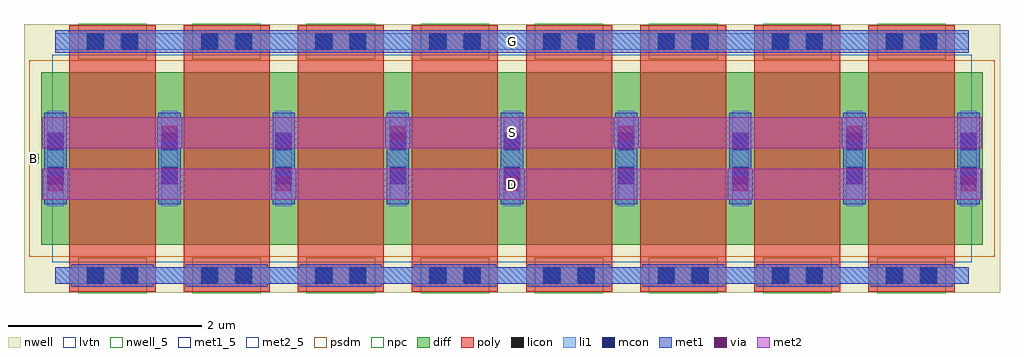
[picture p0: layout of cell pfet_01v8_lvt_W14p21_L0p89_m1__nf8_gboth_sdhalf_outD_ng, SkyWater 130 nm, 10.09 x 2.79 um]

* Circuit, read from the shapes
.subckt pfet_01v8_lvt_W14p21_L0p89_m1__nf8_gboth_sdhalf_outD_ng B D G S
XM1 S G D B sky130_fd_pr__pfet_01v8_lvt w=1.78 l=0.89 m=8
.ends

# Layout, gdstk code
import gdstk
lib = gdstk.Library(unit=1e-6, precision=1e-09)
def R(c, l, rs):  # rectangles x0, y0, x1, y1
    for r in rs: c.add(gdstk.rectangle(r[:2], r[2:], *l))
def A(c, l, x, y, w, h, nx, ny, dx, dy):  # array of equal rectangles
    R(c, l, [(x+i*dx, y+j*dy, x+i*dx+w, y+j*dy+h) for i in range(nx) for j in range(ny)])
nwell_5 = (64, 5)
nwell = (64, 20)
diff = (65, 20)
poly = (66, 20)
licon = (66, 44)
li1 = (67, 20)
mcon = (67, 44)
met1_5 = (68, 5)
met1 = (68, 20)
via = (68, 44)
met2_5 = (69, 5)
met2 = (69, 20)
psdm = (94, 20)
npc = (95, 20)
lvtn = (125, 44)

sky130_fd_pr__pfet_01v8_ = lib.new_cell('sky130_fd_pr__pfet_01v8_lvt_MYBT77')
R(sky130_fd_pr__pfet_01v8_, nwell, [(-5.045,-1.39,5.045,1.39)])
R(sky130_fd_pr__pfet_01v8_, diff, [(-4.865,-0.89,4.865,0.89)])
A(sky130_fd_pr__pfet_01v8_, poly, -4.575, -1.375, 0.89, 2.75, 8, 1, 1.18, 0)
A(sky130_fd_pr__pfet_01v8_, licon, -4.805, -0.255, 0.17, 0.17, 9, 2, 1.18, 0.34)
R(sky130_fd_pr__pfet_01v8_, licon, [(-4.385,-1.295,-4.215,-1.125), (-4.045,-1.295,-3.875,-1.125), (-3.205,-1.295,-3.035,-1.125), (-2.865,-1.295,-2.695,-1.125), (-2.025,-1.295,-1.855,-1.125), (-1.685,-1.295,-1.515,-1.125), (-0.845,-1.295,-0.675,-1.125), (-0.505,-1.295,-0.335,-1.125), (0.335,-1.295,0.505,-1.125), (0.675,-1.295,0.845,-1.125), (1.515,-1.295,1.685,-1.125), (1.855,-1.295,2.025,-1.125), (2.695,-1.295,2.865,-1.125), (3.035,-1.295,3.205,-1.125), (3.875,-1.295,4.045,-1.125), (4.215,-1.295,4.385,-1.125), (-4.385,1.125,-4.215,1.295), (-4.045,1.125,-3.875,1.295), (-3.205,1.125,-3.035,1.295), (-2.865,1.125,-2.695,1.295), (-2.025,1.125,-1.855,1.295), (-1.685,1.125,-1.515,1.295), (-0.845,1.125,-0.675,1.295), (-0.505,1.125,-0.335,1.295), (0.335,1.125,0.505,1.295), (0.675,1.125,0.845,1.295), (1.515,1.125,1.685,1.295), (1.855,1.125,2.025,1.295), (2.695,1.125,2.865,1.295), (3.035,1.125,3.205,1.295), (3.875,1.125,4.045,1.295), (4.215,1.125,4.385,1.295)])
A(sky130_fd_pr__pfet_01v8_, li1, -4.805, -0.495, 0.17, 0.99, 9, 1, 1.18, 0)
R(sky130_fd_pr__pfet_01v8_, li1, [(-4.72,-1.295,4.72,-1.125), (-4.72,1.125,4.72,1.295)])
A(sky130_fd_pr__pfet_01v8_, mcon, -4.805, -0.265, 0.17, 0.17, 9, 2, 1.18, 0.36)
R(sky130_fd_pr__pfet_01v8_, mcon, [(-4.395,-1.295,-4.225,-1.125), (-4.035,-1.295,-3.865,-1.125), (-3.215,-1.295,-3.045,-1.125), (-2.855,-1.295,-2.685,-1.125), (-2.035,-1.295,-1.865,-1.125), (-1.675,-1.295,-1.505,-1.125), (-0.855,-1.295,-0.685,-1.125), (-0.495,-1.295,-0.325,-1.125), (0.325,-1.295,0.495,-1.125), (0.685,-1.295,0.855,-1.125), (1.505,-1.295,1.675,-1.125), (1.865,-1.295,2.035,-1.125), (2.685,-1.295,2.855,-1.125), (3.045,-1.295,3.215,-1.125), (3.865,-1.295,4.035,-1.125), (4.225,-1.295,4.395,-1.125), (-4.395,1.125,-4.225,1.295), (-4.035,1.125,-3.865,1.295), (-3.215,1.125,-3.045,1.295), (-2.855,1.125,-2.685,1.295), (-2.035,1.125,-1.865,1.295), (-1.675,1.125,-1.505,1.295), (-0.855,1.125,-0.685,1.295), (-0.495,1.125,-0.325,1.295), (0.325,1.125,0.495,1.295), (0.685,1.125,0.855,1.295), (1.505,1.125,1.675,1.295), (1.865,1.125,2.035,1.295), (2.685,1.125,2.855,1.295), (3.045,1.125,3.215,1.295), (3.865,1.125,4.035,1.295), (4.225,1.125,4.395,1.295)])
A(sky130_fd_pr__pfet_01v8_, met1, -4.555, -1.325, 0.85, 0.03, 8, 2, 1.18, 0.2)
A(sky130_fd_pr__pfet_01v8_, met1, -4.835, -0.475, 0.23, 0.95, 9, 1, 1.18, 0)
A(sky130_fd_pr__pfet_01v8_, met1, -4.555, 1.095, 0.85, 0.03, 8, 2, 1.18, 0.2)
R(sky130_fd_pr__pfet_01v8_, met1, [(-4.72,-1.295,4.72,-1.125), (-4.72,1.125,4.72,1.295)])
R(sky130_fd_pr__pfet_01v8_, psdm, [(-4.99,-1.015,4.99,1.015)])
A(sky130_fd_pr__pfet_01v8_, npc, -4.485, -1.395, 0.71, 0.37, 8, 2, 1.18, 2.42)
R(sky130_fd_pr__pfet_01v8_, lvtn, [(-4.755,-1.07,4.755,1.07)])
sky130_fd_pr__pfet_01v8_.add(gdstk.Label('D0', (-4.72,0), layer=67, texttype=5))
sky130_fd_pr__pfet_01v8_.add(gdstk.Label('G', (4.13,1.21), layer=67, texttype=5))
sky130_fd_pr__pfet_01v8_.add(gdstk.Label('G', (2.95,1.21), layer=67, texttype=5))
sky130_fd_pr__pfet_01v8_.add(gdstk.Label('G', (1.77,1.21), layer=67, texttype=5))
sky130_fd_pr__pfet_01v8_.add(gdstk.Label('G', (0.59,1.21), layer=67, texttype=5))
sky130_fd_pr__pfet_01v8_.add(gdstk.Label('G', (-0.59,1.21), layer=67, texttype=5))
sky130_fd_pr__pfet_01v8_.add(gdstk.Label('G', (-1.77,1.21), layer=67, texttype=5))
sky130_fd_pr__pfet_01v8_.add(gdstk.Label('G', (-2.95,1.21), layer=67, texttype=5))
sky130_fd_pr__pfet_01v8_.add(gdstk.Label('G', (-4.13,1.21), layer=67, texttype=5))
sky130_fd_pr__pfet_01v8_.add(gdstk.Label('S1', (-3.54,0), layer=67, texttype=5))
sky130_fd_pr__pfet_01v8_.add(gdstk.Label('D2', (-2.36,0), layer=67, texttype=5))
sky130_fd_pr__pfet_01v8_.add(gdstk.Label('S3', (-1.18,0), layer=67, texttype=5))
sky130_fd_pr__pfet_01v8_.add(gdstk.Label('D4', (0,0), layer=67, texttype=5))
sky130_fd_pr__pfet_01v8_.add(gdstk.Label('S5', (1.18,0), layer=67, texttype=5))
sky130_fd_pr__pfet_01v8_.add(gdstk.Label('D6', (2.36,0), layer=67, texttype=5))
sky130_fd_pr__pfet_01v8_.add(gdstk.Label('S7', (3.54,0), layer=67, texttype=5))

pfet_01v8_lvt_w14p21_l0p = lib.new_cell('pfet_01v8_lvt_W14p21_L0p89_m1__nf8_gboth_sdhalf_outD_ng')
R(pfet_01v8_lvt_w14p21_l0p, nwell_5, [(0.05,1.34,0.15,1.44)])
R(pfet_01v8_lvt_w14p21_l0p, nwell, [(0.05,1.34,0.15,1.44)])
R(pfet_01v8_lvt_w14p21_l0p, met1_5, [(0.325,2.485,9.765,2.715)])
A(pfet_01v8_lvt_w14p21_l0p, met1, 0.195, 0.965, 0.26, 0.32, 5, 1, 2.36, 0)
A(pfet_01v8_lvt_w14p21_l0p, met1, 1.375, 1.495, 0.26, 0.32, 4, 1, 2.36, 0)
R(pfet_01v8_lvt_w14p21_l0p, met1, [(0.325,2.485,9.765,2.715)])
A(pfet_01v8_lvt_w14p21_l0p, via, 0.25, 1.05, 0.15, 0.15, 5, 1, 2.36, 0)
A(pfet_01v8_lvt_w14p21_l0p, via, 1.43, 1.58, 0.15, 0.15, 4, 1, 2.36, 0)
R(pfet_01v8_lvt_w14p21_l0p, met2_5, [(0.19,0.965,9.9,1.285), (0.19,1.495,9.9,1.815)])
R(pfet_01v8_lvt_w14p21_l0p, met2, [(0.19,0.965,9.9,1.285), (0.19,1.495,9.9,1.815)])
pfet_01v8_lvt_w14p21_l0p.add(gdstk.Reference(sky130_fd_pr__pfet_01v8_, (5.045,1.39)))
pfet_01v8_lvt_w14p21_l0p.add(gdstk.Label('S', (5.045,1.655), layer=69, texttype=5))
pfet_01v8_lvt_w14p21_l0p.add(gdstk.Label('D', (5.045,1.125), layer=69, texttype=5))
pfet_01v8_lvt_w14p21_l0p.add(gdstk.Label('G', (5.045,2.6), layer=68, texttype=5))
pfet_01v8_lvt_w14p21_l0p.add(gdstk.Label('B', (0.1,1.39), layer=64, texttype=5))

lib.write_gds('pfet_01v8_lvt_W14p21_L0p89_m1__nf8_gboth_sdhalf_outD_ng.gds')
